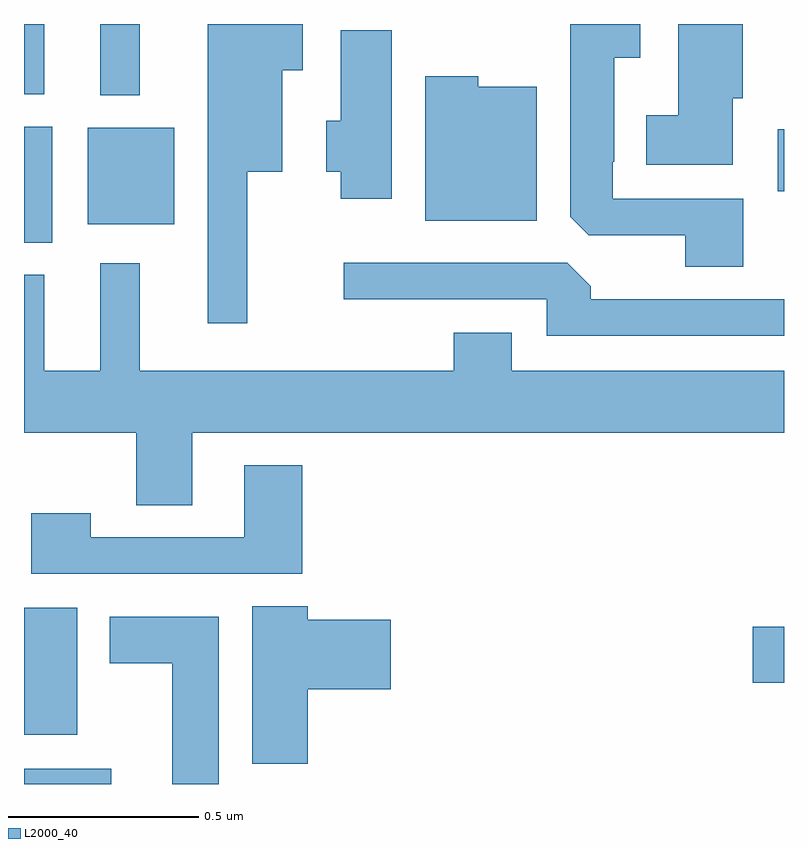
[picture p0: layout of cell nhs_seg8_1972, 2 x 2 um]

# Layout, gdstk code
import gdstk
lib = gdstk.Library(unit=1e-6, precision=1e-09)
def R(c, l, rs):  # rectangles x0, y0, x1, y1
    for r in rs: c.add(gdstk.rectangle(r[:2], r[2:], *l))
def P(c, l, *ps):  # polygons
    for p in ps: c.add(gdstk.Polygon(p, *l))
L2000_40 = (2000, 40)

nhs_seg8_1972 = lib.new_cell('nhs_seg8_1972')
R(nhs_seg8_1972, L2000_40, [(137,1124.9,137.23,1124.94), (137,1125.029,137.14,1125.364), (138.918,1125.167,139,1125.314), (137,1126.325,137.074,1126.63), (137.168,1126.373,137.395,1126.627), (138.984,1126.46,139,1126.623), (137.201,1126.712,137.305,1126.9), (137,1126.715,137.053,1126.9)])
P(nhs_seg8_1972, L2000_40, [(137.587,1126.511),(137.68,1126.511),(137.68,1126.778),(137.734,1126.778),(137.734,1126.9),(137.483,1126.9),(137.483,1126.113),(137.587,1126.113)],
  [(138.893,1126.44),(138.549,1126.44),(138.549,1126.537),(138.553,1126.537),(138.553,1126.811),(138.622,1126.811),(138.622,1126.9),(138.437,1126.9),(138.437,1126.393),(138.486,1126.344),(138.74,1126.344),(138.74,1126.261),(138.893,1126.261)],
  [(138.865,1126.704),(138.892,1126.704),(138.892,1126.9),(138.722,1126.9),(138.722,1126.66),(138.638,1126.66),(138.638,1126.529),(138.865,1126.529)],
  [(137.968,1126.884),(137.834,1126.884),(137.834,1126.646),(137.795,1126.646),(137.795,1126.511),(137.834,1126.511),(137.834,1126.44),(137.968,1126.44)],
  [(138.349,1126.735),(138.195,1126.735),(138.195,1126.762),(138.056,1126.762),(138.056,1126.382),(138.349,1126.382)],
  [(139,1126.176),(138.491,1126.176),(138.491,1126.21),(138.429,1126.272),(137.841,1126.272),(137.841,1126.176),(138.375,1126.176),(138.375,1126.08),(139,1126.08)],
  [(137.443,1125.824),(139,1125.824),(139,1125.988),(138.283,1125.988),(138.283,1126.087),(138.131,1126.087),(138.131,1125.988),(137.305,1125.988),(137.305,1126.27),(137.201,1126.27),(137.201,1125.988),(137.053,1125.988),(137.053,1126.24),(137,1126.24),(137,1125.824),(137.296,1125.824),(137.296,1125.634),(137.443,1125.634)],
  [(137.732,1125.739),(137.579,1125.739),(137.579,1125.549),(137.175,1125.549),(137.175,1125.613),(137.019,1125.613),(137.019,1125.453),(137.732,1125.453)],
  [(137.747,1125.149),(137.965,1125.149),(137.965,1125.332),(137.747,1125.332),(137.747,1125.368),(137.6,1125.368),(137.6,1124.953),(137.747,1124.953)],
  [(137.512,1125.34),(137.225,1125.34),(137.225,1125.218),(137.39,1125.218),(137.39,1124.9),(137.512,1124.9)])

lib.write_gds('nhs_seg8_1972.gds')
